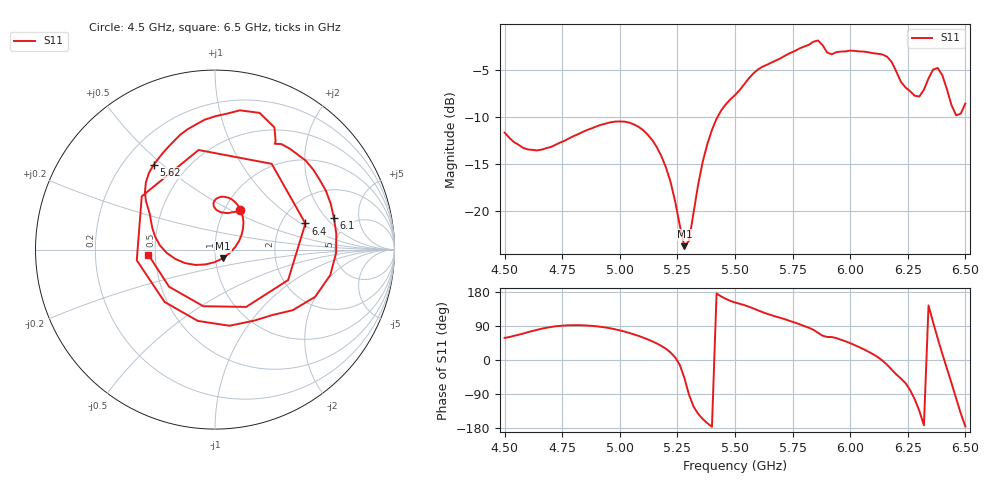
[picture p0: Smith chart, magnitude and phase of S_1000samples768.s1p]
! TOUCHSTONE file generated by CST MICROWAVE STUDIO
! Date and time: Sat Oct 29 07:51:54 2022
! Project name: L.cst
! Parameters = {Di=1.27; Epsilon_r=1.56; InnerDiameter=1.27; Length=2; Lf=10; Lg=60; OuterConductorThickness=0.2921; OuterDiameter=3.6; Wf=3; Wp=41.2; de=1.5; df=6.8; g=0.8; gx=0.705427; gy=0.440977; h=2.34; hf=1.524; px=11.8411; py=12.3389; w=9.7; wx=11.1357; wy=11.8979}
! Header version: 2018
! Port assignment regex: !\s*Touchstone port\s*([0-9]+)\s*=\s*(CST MWS port|CST DS port)\s*([0-9]+|Zmin|Zmax)\s*\(\"(.*)\"\)(\s*mode\s*([0-9]+))?.*
! Touchstone port assignment:
! Touchstone port 1 = CST MWS port 1 ("")
# GHz S DB R 50
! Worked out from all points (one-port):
!   101 points, 4.5 GHz to 6.5 GHz, reference 50 ohm
!   lowest |S11| = -23.7 dB at 5.28 GHz (marker M1), VSWR 1.14, Z = 54.5 - j5.2 ohm
!   |S11| at or under -10 dB: start of sweep to 5.425 GHz
!   S11 on the Smith chart (normalised r, x): 4.5 GHz: 1.17, +0.56; 5.62 GHz: 0.33, +0.47; 6.1 GHz: 3.65, +2.44; 6.4 GHz: 2.71, +1.09; 6.5 GHz: 0.46, -0.03
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4.5  -11.67 58.4
4.76  -12.53 91.0
5  -10.49 78.2
5.16  -13.17 43.8
5.26  -21.43 -12.5
5.28  -23.67 -46.5
5.3  -23.12 -91.0
5.4  -11.38 -176.1
5.5  -7.70 151.7
5.62  -4.70 126.0
5.76  -3.03 98.7
5.86  -1.93 71.9
5.9  -3.20 60.8
6  -3.00 44.5
6.1  -3.28 15.0
6.16  -3.64 -12.5
6.2  -5.21 -38.0
6.26  -7.29 -79.2
6.3  -7.85 -134.0
6.32  -7.13 -172.2
6.34  -5.94 144.0
6.36  -5.00 99.3
6.38  -4.84 56.5
6.4  -5.61 16.1
6.42  -7.10 -22.6
6.44  -8.79 -61.4
6.46  -9.84 -101.7
6.5  -8.59 -175.5
